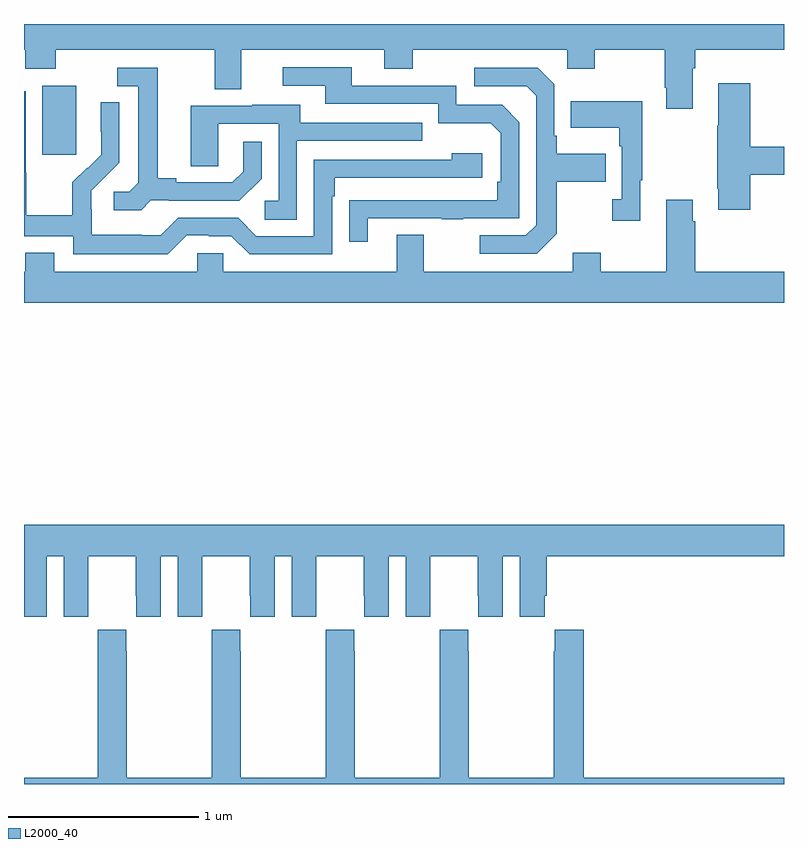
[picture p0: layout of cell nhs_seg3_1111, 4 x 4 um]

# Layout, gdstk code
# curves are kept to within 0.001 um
import gdstk
lib = gdstk.Library(unit=1e-6, precision=1e-09)
def R(c, l, rs):  # rectangles x0, y0, x1, y1
    for r in rs: c.add(gdstk.rectangle(r[:2], r[2:], *l))
def P(c, l, *ps):  # polygons
    for p in ps: c.add(gdstk.Polygon(p, *l))
L2000_40 = (2000, 40)

nhs_seg3_1111 = lib.new_cell('nhs_seg3_1111')
R(nhs_seg3_1111, L2000_40, [(169.097,685.713,169.276,686.074)])
P(nhs_seg3_1111, L2000_40, [(172.519,686.168),(172.532,686.168),(172.532,686.264),(173,686.264),(173,686.4),(169,686.4),(169,686.264),(169.007,686.264),(169.007,686.165),(169.167,686.165),(169.167,686.264),(170.003,686.264),(170.003,686.056),(170.143,686.056),(170.143,686.264),(170.897,686.264),(170.897,686.165),(171.045,686.165),(171.045,686.264),(171.858,686.264),(171.858,686.165),(172.005,686.165),(172.005,686.264),(172.372,686.264),(172.372,686.065),(172.379,686.065),(172.379,685.953),(172.519,685.953)],
  [(170.809,685.377),(171.199,685.377),(171.199,685.372),(171.311,685.372),(171.311,685.377),(171.606,685.377),(171.606,685.884),(171.516,685.974),(171.276,685.974),(171.276,686.076),(170.725,686.076),(170.725,686.172),(170.361,686.172),(170.361,686.076),(170.585,686.076),(170.585,685.98),(171.18,685.98),(171.18,685.877),(171.457,685.877),(171.51,685.824),(171.51,685.57),(171.49,685.57),(171.49,685.473),(170.713,685.472),(170.713,685.254),(170.809,685.254)],
  [(171.805,685.297),(171.805,685.57),(172.061,685.57),(172.061,685.717),(171.805,685.717),(171.805,685.813),(171.792,685.813),(171.792,686.082),(171.705,686.169),(171.369,686.169),(171.369,686.073),(171.645,686.073),(171.696,686.022),(171.696,685.341),(171.642,685.287),(171.399,685.287),(171.399,685.191),(171.699,685.191)],
  [(169.668,685.473),(169.762,685.473),(169.762,685.47),(170.134,685.47),(170.25,685.586),(170.25,685.78),(170.153,685.78),(170.153,685.623),(170.096,685.566),(169.801,685.566),(169.801,685.589),(169.705,685.589),(169.705,686.169),(169.491,686.169),(169.491,686.073),(169.601,686.073),(169.601,685.565),(169.554,685.518),(169.473,685.518),(169.473,685.421),(169.616,685.421)],
  [(172.823,685.607),(173,685.607),(173,685.754),(172.823,685.754),(172.823,686.089),(172.655,686.089),(172.655,685.865),(172.648,685.865),(172.648,685.534),(172.655,685.534),(172.655,685.422),(172.823,685.422)],
  [(169.857,685.287),(169.973,685.287),(169.973,685.284),(170.091,685.284),(170.187,685.188),(170.622,685.188),(170.622,685.493),(170.635,685.493),(170.635,685.59),(171.412,685.59),(171.412,685.72),(171.251,685.72),(171.251,685.686),(170.526,685.686),(170.526,685.284),(170.223,685.284),(170.127,685.38),(169.812,685.38),(169.719,685.287),(169.619,685.287),(169.619,685.291),(169.356,685.291),(169.356,685.425),(169.354,685.425),(169.354,685.522),(169.5,685.67),(169.5,685.988),(169.404,685.988),(169.404,685.834),(169.406,685.834),(169.406,685.712),(169.335,685.641),(169.332,685.644),(169.255,685.567),(169.255,685.393),(169.011,685.393),(169.011,685.616),(169.008,685.616),(169.008,686.046),(169,686.046),(169,685.284),(169.26,685.284),(169.26,685.187),(169.757,685.187)],
  [(172.243,685.577),(172.255,685.577),(172.255,685.993),(171.877,685.993),(171.877,685.853),(172.134,685.853),(172.134,685.757),(172.146,685.757),(172.146,685.478),(172.095,685.478),(172.095,685.365),(172.243,685.365)],
  [(170.436,685.785),(171.095,685.785),(171.095,685.881),(170.455,685.881),(170.455,685.975),(170.201,685.975),(170.201,685.971),(169.877,685.971),(169.877,685.651),(170.022,685.651),(170.022,685.875),(170.34,685.875),(170.34,685.47),(170.268,685.47),(170.268,685.369),(170.436,685.369)],
  [(173,685.096),(172.532,685.096),(172.532,685.361),(172.519,685.361),(172.519,685.474),(172.379,685.474),(172.379,685.096),(172.035,685.096),(172.035,685.195),(171.887,685.195),(171.887,685.096),(171.103,685.096),(171.103,685.291),(170.963,685.291),(170.963,685.096),(170.049,685.096),(170.049,685.194),(169.911,685.194),(169.911,685.096),(169.159,685.096),(169.159,685.195),(169.007,685.195),(169.007,685.096),(169,685.096),(169,684.932),(173,684.932)],
  [(169.12,683.6),(169.208,683.6),(169.208,683.28),(169.338,683.28),(169.338,683.392),(169.339,683.392),(169.339,683.6),(169.589,683.6),(169.589,683.392),(169.59,683.392),(169.59,683.28),(169.72,683.28),(169.72,683.6),(169.808,683.6),(169.808,683.28),(169.938,683.28),(169.938,683.392),(169.939,683.392),(169.939,683.6),(170.189,683.6),(170.189,683.392),(170.19,683.392),(170.19,683.28),(170.32,683.28),(170.32,683.6),(170.408,683.6),(170.408,683.28),(170.538,683.28),(170.538,683.392),(170.539,683.392),(170.539,683.6),(170.789,683.6),(170.789,683.392),(170.79,683.392),(170.79,683.28),(170.92,683.28),(170.92,683.6),(171.008,683.6),(171.008,683.28),(171.138,683.28),(171.138,683.392),(171.139,683.392),(171.139,683.6),(171.389,683.6),(171.389,683.392),(171.39,683.392),(171.39,683.28),(171.52,683.28),(171.52,683.6),(171.608,683.6),(171.608,683.28),(171.742,683.28),(171.742,683.392),(171.752,683.392),(171.752,683.6),(173,683.6),(173,683.764),(169,683.764),(169,683.28),(169.12,683.28)],
  [(173,682.432),(171.947,682.432),(171.947,683.212),(171.793,683.212),(171.793,683.099),(171.787,683.099),(171.787,682.432),(171.342,682.432),(171.342,683.099),(171.339,683.099),(171.339,683.212),(171.189,683.212),(171.189,683.099),(171.187,683.099),(171.187,682.432),(170.742,682.432),(170.742,683.099),(170.739,683.099),(170.739,683.212),(170.589,683.212),(170.589,683.099),(170.587,683.099),(170.587,682.432),(170.142,682.432),(170.142,683.099),(170.139,683.099),(170.139,683.212),(169.989,683.212),(169.989,683.099),(169.987,683.099),(169.987,682.432),(169.542,682.432),(169.542,683.099),(169.539,683.099),(169.539,683.212),(169.389,683.212),(169.389,683.099),(169.387,683.099),(169.387,682.432),(169,682.432),(169,682.4),(173,682.4)])

lib.write_gds('nhs_seg3_1111.gds')
